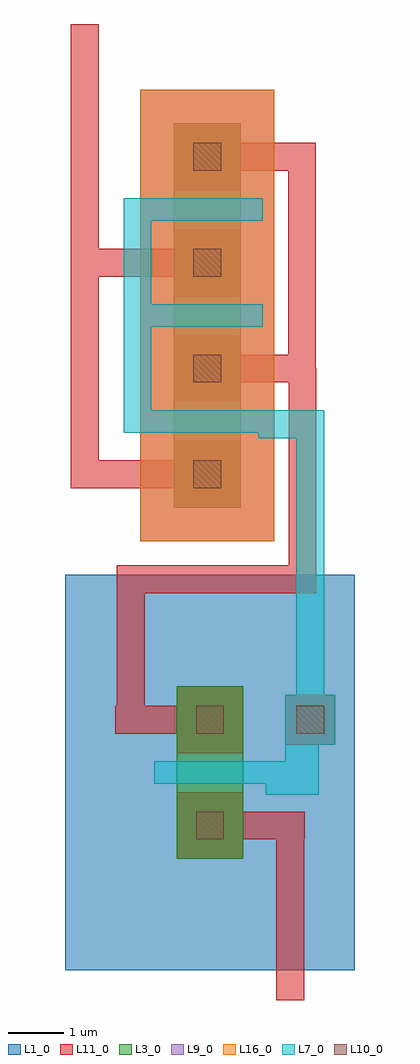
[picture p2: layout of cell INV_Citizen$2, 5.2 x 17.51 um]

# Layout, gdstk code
from math import pi, radians
import gdstk
lib = gdstk.Library(unit=1e-6, precision=1e-09)
def R(c, l, rs):  # rectangles x0, y0, x1, y1
    for r in rs: c.add(gdstk.rectangle(r[:2], r[2:], *l))
L1_0 = (1, 0)
L3_0 = (3, 0)
L7_0 = (7, 0)
L9_0 = (9, 0)
L10_0 = (10, 0)
L11_0 = (11, 0)
L16_0 = (16, 0)

dcont = lib.new_cell('dcont')
R(dcont, L3_0, [(-0.6,-0.6,0.6,0.6)])
R(dcont, L10_0, [(-0.25,-0.25,0.25,0.25)])

pch = lib.new_cell('Pch')
R(pch, L3_0, [(0,1.7,6.9,2.9)])
R(pch, L9_0, [(-0.6,1.1,7.5,3.5)])
R(pch, L16_0, [(-0.6,1.1,7.5,3.5)])
pch.add(gdstk.FlexPath([(0.6,1.7),(0.6,2.9)], 1.2, ends="flush", simple_path=True, layer=11, datatype=0))  # L11_0
pch.add(gdstk.FlexPath([(2.5,1.7),(2.5,2.9)], 1.2, ends="flush", simple_path=True, layer=11, datatype=0))  # L11_0
pch.add(gdstk.FlexPath([(4.4,1.7),(4.4,2.9)], 1.2, ends="flush", simple_path=True, layer=11, datatype=0))  # L11_0
pch.add(gdstk.FlexPath([(6.3,1.7),(6.3,2.9)], 1.2, ends="flush", simple_path=True, layer=11, datatype=0))  # L11_0
pch.add(gdstk.FlexPath([(0.6,2.4),(0.6,4)], 0.5, ends="flush", simple_path=True, layer=11, datatype=0))  # L11_0
pch.add(gdstk.FlexPath([(2.5,0.1),(2.5,2.2)], 0.5, ends="flush", simple_path=True, layer=11, datatype=0))  # L11_0
pch.add(gdstk.FlexPath([(4.4,2.4),(4.4,4)], 0.5, ends="flush", simple_path=True, layer=11, datatype=0))  # L11_0
pch.add(gdstk.FlexPath([(0.6,4),(4.4,4)], 0.5, ends="extended", simple_path=True, layer=11, datatype=0))  # L11_0
pch.add(gdstk.FlexPath([(6.3,0.1),(6.3,2.2)], 0.5, ends="flush", simple_path=True, layer=11, datatype=0))  # L11_0
pch.add(gdstk.FlexPath([(2.5,0.1),(6.3,0.1)], 0.5, ends="extended", simple_path=True, layer=11, datatype=0))  # L11_0
pch.add(gdstk.FlexPath([(1.55,1.7),(1.55,2.9)], 0.4, ends=(0.4, 0.4), simple_path=True, layer=7, datatype=0))  # L7_0
pch.add(gdstk.FlexPath([(3.45,1.7),(3.45,2.9)], 0.4, ends=(0.4, 0.4), simple_path=True, layer=7, datatype=0))  # L7_0
pch.add(gdstk.FlexPath([(5.35,1.7),(5.35,2.9)], 0.4, ends=(0.4, 0.4), simple_path=True, layer=7, datatype=0))  # L7_0
pch.add(gdstk.FlexPath([(1.35,1.05),(3.65,1.05)], 0.5, ends="flush", simple_path=True, layer=7, datatype=0))  # L7_0
pch.add(gdstk.FlexPath([(3.25,1.05),(5.55,1.05)], 0.5, ends="flush", simple_path=True, layer=7, datatype=0))  # L7_0
pch.add(gdstk.Reference(dcont, (0.6,2.3)))
pch.add(gdstk.Reference(dcont, (2.5,2.3)))
pch.add(gdstk.Reference(dcont, (4.4,2.3)))
pch.add(gdstk.Reference(dcont, (6.3,2.3)))

pcont = lib.new_cell('pcont')
R(pcont, L7_0, [(-0.45,-0.45,0.45,0.45)])
R(pcont, L10_0, [(-0.25,-0.25,0.25,0.25)])
R(pcont, L11_0, [(-0.45,-0.45,0.45,0.45)])

nch_2 = lib.new_cell('Nch$2')
R(nch_2, L1_0, [(-2,-0.3,5.1,4.9)])
R(nch_2, L3_0, [(0,1.7,3.1,2.9)])
nch_2.add(gdstk.FlexPath([(0.6,1.7),(0.6,2.9)], 1.2, ends="flush", simple_path=True, layer=11, datatype=0))  # L11_0
nch_2.add(gdstk.FlexPath([(2.5,1.7),(2.5,2.9)], 1.2, ends="flush", simple_path=True, layer=11, datatype=0))  # L11_0
nch_2.add(gdstk.FlexPath([(0.6,0.6),(0.6,2.2)], 0.5, ends="flush", simple_path=True, layer=11, datatype=0))  # L11_0
nch_2.add(gdstk.FlexPath([(2.5,2.4),(2.5,4)], 0.5, ends="flush", simple_path=True, layer=11, datatype=0))  # L11_0
nch_2.add(gdstk.FlexPath([(1.55,1.7),(1.55,2.9)], 0.4, ends=(0.4, 0.4), simple_path=True, layer=7, datatype=0))  # L7_0
nch_2.add(gdstk.FlexPath([(0.6,3.95),(1.65,3.95),(1.65,3.3)], 0.6, ends="flush", simple_path=True, layer=7, datatype=0))  # L7_0
nch_2.add(gdstk.Reference(dcont, (0.6,2.3)))
nch_2.add(gdstk.Reference(dcont, (2.5,2.3)))
nch_2.add(gdstk.Reference(pcont, (0.6,4.1)))

inv_citizen_2 = lib.new_cell('INV_Citizen$2')
inv_citizen_2.add(gdstk.FlexPath([(46.54,9.83),(46.54,6.05),(43.46,6.05),(43.46,3.49),(43.46,3.49),(43.46,3.49)], 0.5, ends="flush", simple_path=True, layer=11, datatype=0))  # L11_0
inv_citizen_2.add(gdstk.FlexPath([(46.32,1.63),(46.32,-1.5)], 0.5, ends="flush", simple_path=True, layer=11, datatype=0))  # L11_0
inv_citizen_2.add(gdstk.FlexPath([(42.63,11.73),(42.63,16.01)], 0.5, ends="flush", simple_path=True, layer=11, datatype=0))  # L11_0
inv_citizen_2.add(gdstk.FlexPath([(46.68,3.26),(46.68,8.83),(45.75,8.83)], 0.5, ends="flush", simple_path=True, layer=7, datatype=0))  # L7_0
inv_citizen_2.add(gdstk.Reference(pch, (42.53,14.23), rotation=3*pi/2))
inv_citizen_2.add(gdstk.Reference(nch_2, (42.58,4.13), rotation=3*pi/2))
inv_citizen_2.add(gdstk.Reference(nch_2, (42.58,4.13), rotation=3*pi/2))

lib.write_gds('INV_Citizen_2.gds')
